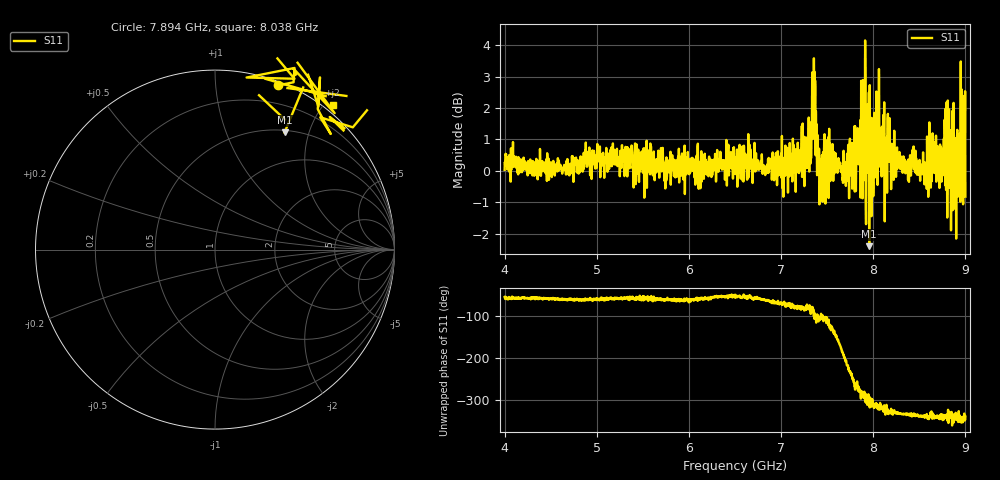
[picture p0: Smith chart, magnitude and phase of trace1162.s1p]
! Created with skrf 1.8.0 (http://scikit-rf.org).
# Hz S RI R 50.0
!freq ReS11 ImS11
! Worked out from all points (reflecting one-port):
!   1601 points, 4 GHz to 9 GHz, reference 50 ohm
!   lowest |S11| = -2.4 dB at 7.956 GHz (marker M1), VSWR 7.30, Z = 26.5 + j81.5 ohm
!   phase of S11 starts at -56 deg and turns -284 deg over the sweep
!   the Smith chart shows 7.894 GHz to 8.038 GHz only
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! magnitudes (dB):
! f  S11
! 4 GHz  0.0
! 4.625 GHz  -0.1
! 5.25 GHz  -0.2
! 5.875 GHz  0.3
! 6.5 GHz  0.1
! 7.125 GHz  0.5
! 7.303 GHz  0.3
! 7.356 GHz  3.6
! 7.381 GHz  1.0
! 7.4 GHz  0.6
! 7.428 GHz  -0.4
! 7.509 GHz  -0.1
! 7.678 GHz  0.6
! 7.75 GHz  -0.1
! 7.788 GHz  0.4
! 7.844 GHz  1.1
! 7.956 GHz  -2.4
! 7.981 GHz  -1.4
! 8.05 GHz  1.6
! 8.166 GHz  1.1
! 8.212 GHz  0.2
! 8.375 GHz  0.1
! 8.581 GHz  -0.6
! 8.788 GHz  -0.4
! 8.875 GHz  0.7
! 8.919 GHz  -0.2
! 8.972 GHz  1.0
! 9 GHz  -0.8
